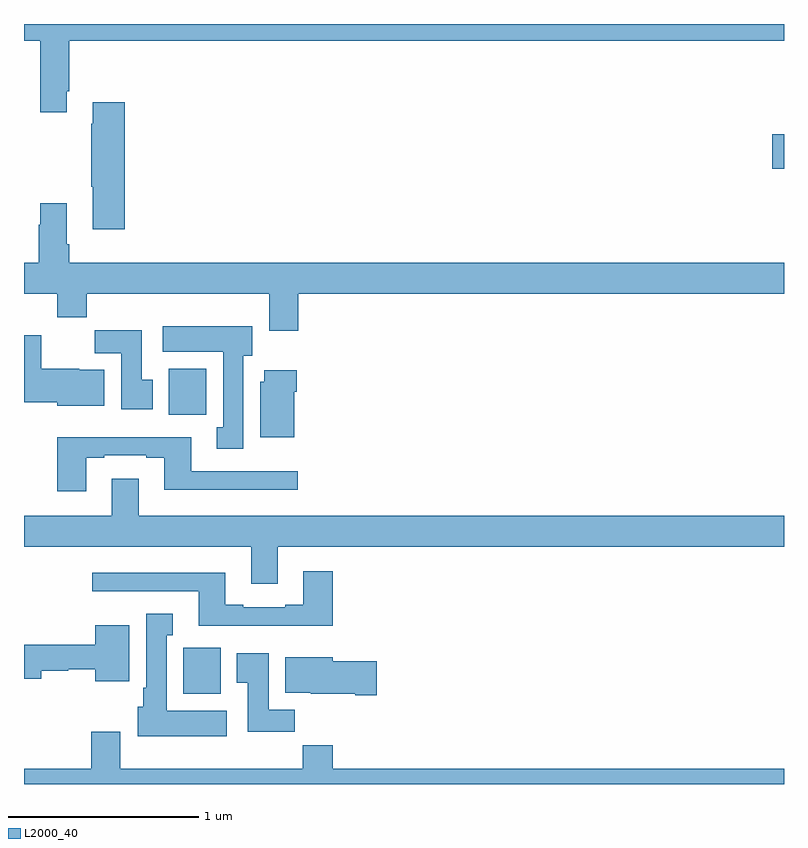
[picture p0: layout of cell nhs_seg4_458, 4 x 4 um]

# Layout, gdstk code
import gdstk
lib = gdstk.Library(unit=1e-6, precision=1e-09)
def R(c, l, rs):  # rectangles x0, y0, x1, y1
    for r in rs: c.add(gdstk.rectangle(r[:2], r[2:], *l))
def P(c, l, *ps):  # polygons
    for p in ps: c.add(gdstk.Polygon(p, *l))
L2000_40 = (2000, 40)

nhs_seg4_458 = lib.new_cell('nhs_seg4_458')
R(nhs_seg4_458, L2000_40, [(133.838,801.374,134.035,801.616), (133.763,802.844,133.96,803.086), (136.938,804.137,137,804.32)])
P(nhs_seg4_458, L2000_40, [(137,804.9),(133,804.9),(133,804.812),(133.085,804.812),(133.085,804.435),(133.225,804.435),(133.225,804.547),(133.238,804.547),(133.238,804.812),(137,804.812)],
  [(133.529,804.487),(133.361,804.487),(133.361,804.374),(133.354,804.374),(133.354,804.043),(133.361,804.043),(133.361,803.82),(133.529,803.82)],
  [(134.444,803.48),(137,803.48),(137,803.644),(133.238,803.644),(133.238,803.74),(133.225,803.74),(133.225,803.956),(133.085,803.956),(133.085,803.843),(133.078,803.843),(133.078,803.644),(133,803.644),(133,803.48),(133.175,803.48),(133.175,803.356),(133.331,803.356),(133.331,803.48),(134.291,803.48),(134.291,803.286),(134.444,803.286)],
  [(134.155,803.154),(134.2,803.154),(134.2,803.308),(133.731,803.308),(133.731,803.174),(134.048,803.174),(134.048,802.778),(134.015,802.778),(134.015,802.665),(134.155,802.665)],
  [(133.678,803.028),(133.621,803.028),(133.621,803.287),(133.372,803.287),(133.372,803.168),(133.511,803.168),(133.511,802.872),(133.678,802.872)],
  [(133.423,803.08),(133.29,803.08),(133.29,803.086),(133.09,803.086),(133.09,803.263),(133,803.263),(133,802.91),(133.176,802.91),(133.176,802.892),(133.423,802.892)],
  [(134.422,802.964),(134.435,802.964),(134.435,803.077),(134.264,803.077),(134.264,803.016),(134.243,803.016),(134.243,802.724),(134.422,802.724)],
  [(133.327,802.617),(133.423,802.617),(133.423,802.629),(133.643,802.629),(133.643,802.617),(133.739,802.617),(133.739,802.448),(134.44,802.448),(134.44,802.545),(133.879,802.545),(133.879,802.726),(133.175,802.726),(133.175,802.44),(133.327,802.44)],
  [(134.335,802.148),(137,802.148),(137,802.312),(133.603,802.312),(133.603,802.507),(133.463,802.507),(133.463,802.312),(133,802.312),(133,802.148),(134.195,802.148),(134.195,801.954),(134.335,801.954)],
  [(134.624,802.021),(134.471,802.021),(134.471,801.844),(134.375,801.844),(134.375,801.831),(134.155,801.831),(134.155,801.844),(134.059,801.844),(134.059,802.012),(133.359,802.012),(133.359,801.915),(133.919,801.915),(133.919,801.734),(134.624,801.734)],
  [(134.068,801.286),(133.75,801.286),(133.75,801.683),(133.783,801.683),(133.783,801.796),(133.643,801.796),(133.643,801.406),(133.628,801.406),(133.628,801.306),(133.598,801.306),(133.598,801.152),(134.068,801.152)],
  [(133.555,801.736),(133.376,801.736),(133.376,801.632),(133,801.632),(133,801.454),(133.09,801.454),(133.09,801.496),(133.233,801.496),(133.233,801.504),(133.376,801.504),(133.376,801.44),(133.555,801.44)],
  [(134.426,801.292),(134.287,801.292),(134.287,801.589),(134.12,801.589),(134.12,801.433),(134.177,801.433),(134.177,801.174),(134.426,801.174)],
  [(134.857,801.545),(134.626,801.545),(134.626,801.568),(134.375,801.568),(134.375,801.38),(134.508,801.38),(134.508,801.374),(134.744,801.374),(134.744,801.367),(134.857,801.367)],
  [(137,800.98),(134.624,800.98),(134.624,801.104),(134.467,801.104),(134.467,800.98),(133.507,800.98),(133.507,801.175),(133.355,801.175),(133.355,800.98),(133,800.98),(133,800.9),(137,800.9)])

lib.write_gds('nhs_seg4_458.gds')
